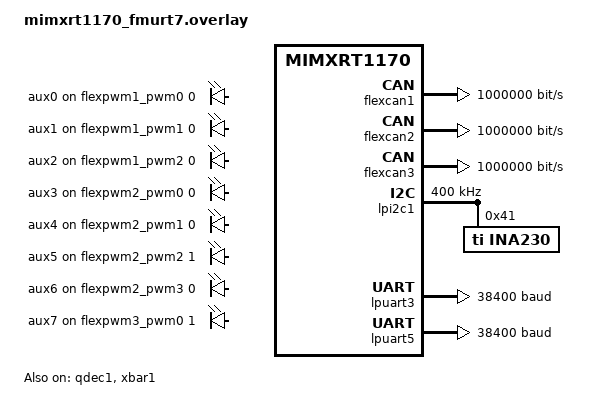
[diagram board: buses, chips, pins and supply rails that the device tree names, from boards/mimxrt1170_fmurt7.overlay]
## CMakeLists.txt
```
#-------------------------------------------------------------------------------
# Zephyr Cerebri Application
#
# Copyright (c) 2023 CogniPilot Foundation
# SPDX-License-Identifier: Apache-2.0

cmake_minimum_required(VERSION 3.13.1)

find_package(Zephyr REQUIRED HINTS $ENV{ZEPHYR_BASE})

project(mrbuggy3 LANGUAGES C)

target_compile_options(app PRIVATE -Wall -Wextra -Werror -Wno-unused-parameter)

set(SOURCE_FILES
  src/main.c
  )

target_sources(app PRIVATE ${SOURCE_FILES})

#add_custom_target(install_files ALL
#	DEPENDS ${ZEPHYR_FINAL_EXECUTABLE}
#)

#add_custom_command(
#    TARGET install_files
#    POST_BUILD
#    COMMAND ${CMAKE_COMMAND} --build ${CMAKE_BINARY_DIR} --target install
#    )
```

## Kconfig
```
# Copyright (c) 2021 Nordic Semiconductor ASA
# SPDX-License-Identifier: Apache-2.0
#
# This file is the application Kconfig entry point. All application Kconfig
# options can be defined here or included via other application Kconfig files.
# You can browse these options using the west targets menuconfig (terminal) or
# guiconfig (GUI).
mainmenu "CogniPilot - Cerebri - MR Buggy3"
source "Kconfig.zephyr"

module = CEREBRI
module-str = CEREBRI
source "subsys/logging/Kconfig.template.log_config"
```

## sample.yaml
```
sample:
  description: MrBuggy3
  name: MrBuggy3
common:
  build_only: true
  integration_platforms:
    - native_posix
    - vmu_rt1170
tests:
  mrbuggy3.default:
    tags:
      - mrbuggy3
    integration_platforms:
      - native_posix
      - vmu_rt1170
```

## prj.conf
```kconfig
CONFIG_CEREBRI_APP_NAME="mrbuggy3"
CONFIG_CEREBRI_CORE_COMMON=y
CONFIG_CEREBRI_CONTROL_ACKERMANN=y
CONFIG_CEREBRI_ESTIMATE_ROVER2D=y
CONFIG_CEREBRI_SENSE_WHEEL_ODOMETRY=y
CONFIG_CEREBRI_SENSE_IMU=y
CONFIG_CEREBRI_SENSE_MAG=y
CONFIG_CEREBRI_SYNAPSE_ZBUS=y
CONFIG_CEREBRI_SYNAPSE_TOPIC=y
CONFIG_CEREBRI_SYNAPSE_ETHERNET=y

CONFIG_LOG=y
CONFIG_ASSERT=n
CONFIG_CBPRINTF_FP_SUPPORT=y

# modules
CONFIG_SYNAPSE_PROTOBUF=y
CONFIG_SYNAPSE_TINYFRAME=y
CONFIG_NANOPB=y
CONFIG_UBXLIB=y

# Zbus
CONFIG_ZBUS=y
CONFIG_ZBUS_CHANNEL_NAME=y
CONFIG_ZBUS_OBSERVER_NAME=y

# Debug
CONFIG_CEREBRI_SYNAPSE_ZBUS_LOG_LEVEL_DBG=n
CONFIG_CEREBRI_ESTIMATE_ROVER2D_LOG_LEVEL_DBG=n
CONFIG_CEREBRI_CONTROL_ACKERMANN_LOG_LEVEL_DBG=n
CONFIG_CEREBRI_SENSE_WHEEL_ODOMETRY_LOG_LEVEL_DBG=n
CONFIG_CEREBRI_SENSE_IMU_LOG_LEVEL_DBG=n
CONFIG_CEREBRI_SENSE_SAFETY_LOG_LEVEL_DBG=n

# General config
CONFIG_POSIX_API=y
CONFIG_NEWLIB_LIBC=y
CONFIG_MAIN_THREAD_PRIORITY=5
CONFIG_SYSTEM_WORKQUEUE_PRIORITY=-2
CONFIG_SYS_CLOCK_TICKS_PER_SEC=10000

# Networking config
CONFIG_NET_SHELL=y
CONFIG_NETWORKING=y
CONFIG_NET_IPV4=y
CONFIG_NET_IPV6=n
CONFIG_NET_TCP=y
CONFIG_NET_SOCKETS=y

# Network address config
CONFIG_NET_CONFIG_SETTINGS=y
CONFIG_NET_STATISTICS=y
CONFIG_NET_MGMT_EVENT_INFO=y
CONFIG_NET_MGMT_EVENT_MONITOR=y
CONFIG_NET_BUF_POOL_USAGE=y
CONFIG_NET_DEBUG_NET_PKT_ALLOC=y
CONFIG_NET_CONFIG_NEED_IPV4=y
CONFIG_NET_CONFIG_MY_IPV4_ADDR="192.0.2.1"
CONFIG_NET_CONFIG_PEER_IPV4_ADDR="192.0.2.2"

# STATS
CONFIG_THREAD_RUNTIME_STATS=y
CONFIG_SCHED_THREAD_USAGE=y
CONFIG_SCHED_THREAD_USAGE_ANALYSIS=y
CONFIG_SCHED_THREAD_USAGE_ALL=y
CONFIG_SCHED_THREAD_USAGE_AUTO_ENABLE=y
```

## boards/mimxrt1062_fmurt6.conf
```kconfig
CONFIG_DREAM_SITL=n
CONFIG_ACTUATE_PWM=y
CONFIG_ACTUATE_PWM_NUMBER=3

# can
CONFIG_VESC_CAN=y
CONFIG_ACTUATE_VESC_CAN=y
CONFIG_VESC_CAN_NUMBER=1
CONFIG_VESC_CAN_BUS_FD_0=y
#CONFIG_VESC_CAN_BUS_FD_1=y
CONFIG_VESC_CAN_BUS_ALIAS_CAN_N_0=0
#CONFIG_VESC_CAN_BUS_ALIAS_CAN_N_1=0
CONFIG_VESC_CAN_ID_0=60
#CONFIG_VESC_CAN_ID_1=61
CONFIG_VESC_POLE_PAIR_0=7
#CONFIG_VESC_POLE_PAIR_1=7
CONFIG_VESC_CAN_ACTUATOR_VEL_IDX_0=0
#CONFIG_VESC_CAN_ACTUATOR_VEL_IDX_0=1


# steering
CONFIG_ACTUATE_PWM_USE_POS_0=y
CONFIG_ACTUATE_PWM_INDEX_0=0
CONFIG_ACTUATE_PWM_LINEAR_0=y
CONFIG_ACTUATE_PWM_LINEAR_M_0=400
CONFIG_ACTUATE_PWM_LINEAR_M_DIV_0=1
CONFIG_ACTUATE_PWM_LINEAR_C_0=1500
CONFIG_ACTUATE_PWM_LINEAR_C_DIV_0=1

# throttle
CONFIG_ACTUATE_PWM_INDEX_1=0
CONFIG_ACTUATE_PWM_LINEAR_1=y
CONFIG_ACTUATE_PWM_LINEAR_M_1=1000
CONFIG_ACTUATE_PWM_LINEAR_C_1=1550
CONFIG_ACTUATE_PWM_LINEAR_C_DIV_1=1

CONFIG_PWM=y

CONFIG_CAN=y
CONFIG_CAN_MAX_FILTER=5
CONFIG_CAN_SHELL=y

CONFIG_NET_DRIVERS=y
CONFIG_NET_CANBUS=y

CONFIG_NET_SOCKETS_CAN=y
CONFIG_NET_DEFAULT_IF_CANBUS_RAW=y

CONFIG_CAN_LOG_LEVEL_DBG=n
CONFIG_CAN_FD_MODE=y
CONFIG_SHELL_ARGC_MAX=72
```

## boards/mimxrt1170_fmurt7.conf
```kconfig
CONFIG_DREAM_SITL=n
CONFIG_ACTUATE_PWM=n  # disabling for estimator testing
CONFIG_ACTUATE_PWM_NUMBER=3

# can
CONFIG_VESC_CAN=y
CONFIG_ACTUATE_VESC_CAN=y
CONFIG_VESC_CAN_NUMBER=1
CONFIG_VESC_CAN_BUS_FD_0=y
#CONFIG_VESC_CAN_BUS_FD_1=y
CONFIG_VESC_CAN_BUS_ALIAS_CAN_N_0=0
#CONFIG_VESC_CAN_BUS_ALIAS_CAN_N_1=0
CONFIG_VESC_CAN_ID_0=60
#CONFIG_VESC_CAN_ID_1=61
CONFIG_VESC_POLE_PAIR_0=7
#CONFIG_VESC_POLE_PAIR_1=7
CONFIG_VESC_CAN_ACTUATOR_VEL_IDX_0=0
#CONFIG_VESC_CAN_ACTUATOR_VEL_IDX_0=1


# steering
CONFIG_ACTUATE_PWM_USE_POS_0=y
CONFIG_ACTUATE_PWM_INDEX_0=0
CONFIG_ACTUATE_PWM_LINEAR_0=y
CONFIG_ACTUATE_PWM_LINEAR_M_0=400
CONFIG_ACTUATE_PWM_LINEAR_M_DIV_0=1
CONFIG_ACTUATE_PWM_LINEAR_C_0=1500
CONFIG_ACTUATE_PWM_LINEAR_C_DIV_0=1

# throttle
CONFIG_ACTUATE_PWM_INDEX_1=0
CONFIG_ACTUATE_PWM_LINEAR_1=y
CONFIG_ACTUATE_PWM_LINEAR_M_1=1000
CONFIG_ACTUATE_PWM_LINEAR_C_1=1550
CONFIG_ACTUATE_PWM_LINEAR_C_DIV_1=1

CONFIG_PWM=y

CONFIG_CAN=y
CONFIG_CAN_MAX_FILTER=5
CONFIG_CAN_SHELL=y

CONFIG_NET_DRIVERS=y
CONFIG_NET_CANBUS=y

CONFIG_NET_SOCKETS_CAN=y
CONFIG_NET_DEFAULT_IF_CANBUS_RAW=y

CONFIG_CAN_LOG_LEVEL_DBG=n
CONFIG_CAN_FD_MODE=y
CONFIG_SHELL_ARGC_MAX=72
CONFIG_I2C=y
CONFIG_SENSOR=y
CONFIG_SENSE_POWER=y
CONFIG_SENSE_UBX_GNSS=y
CONFIG_HEAP_MEM_POOL_SIZE=16384

# Debugging
CONFIG_DEBUG_THREAD_INFO=y

# Logging
CONFIG_LOG=y
CONFIG_LOG_MODE_DEFERRED=n
CONFIG_LOG_BACKEND_NET=n
CONFIG_LOG_BACKEND_NET_SERVER="192.0.2.2"
```

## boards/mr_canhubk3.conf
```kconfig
CONFIG_ENTROPY_GENERATOR=y
CONFIG_TEST_RANDOM_GENERATOR=y
CONFIG_CEREBRI_DREAM_SITL=n
CONFIG_CEREBRI_ACTUATE_PWM=y
CONFIG_CEREBRI_ACTUATE_PWM_NUMBER=2
CONFIG_CEREBRI_SENSE_POWER=n
CONFIG_CEREBRI_SENSE_WHEEL_ODOMETRY=n
CONFIG_CEREBRI_SENSE_UBX_GNSS=y
CONFIG_BUGGY3_MOTOR_ENB_REQUIRED=n


# steering
CONFIG_CEREBRI_ACTUATE_PWM_USE_POS_0=y
CONFIG_CEREBRI_ACTUATE_PWM_INDEX_0=0
CONFIG_CEREBRI_ACTUATE_PWM_LINEAR_0=y
CONFIG_CEREBRI_ACTUATE_PWM_LINEAR_M_0=400
CONFIG_CEREBRI_ACTUATE_PWM_LINEAR_M_DIV_0=1
CONFIG_CEREBRI_ACTUATE_PWM_LINEAR_B_0=1500
CONFIG_CEREBRI_ACTUATE_PWM_LINEAR_B_DIV_0=1

# throttle
CONFIG_CEREBRI_ACTUATE_PWM_INDEX_1=0
CONFIG_CEREBRI_ACTUATE_PWM_USE_NANO_SECONDS_1=y
CONFIG_CEREBRI_ACTUATE_PWM_PULSE_MIN_1=0
CONFIG_CEREBRI_ACTUATE_PWM_PULSE_MAX_1=50000
CONFIG_CEREBRI_ACTUATE_PWM_PULSE_CENTER_1=25000
CONFIG_CEREBRI_ACTUATE_PWM_LINEAR_1=y
CONFIG_CEREBRI_ACTUATE_PWM_LINEAR_M_1=273158
CONFIG_CEREBRI_ACTUATE_PWM_LINEAR_M_DIV_1=1000
CONFIG_CEREBRI_ACTUATE_PWM_LINEAR_B_1=248474
CONFIG_CEREBRI_ACTUATE_PWM_LINEAR_B_DIV_1=10

CONFIG_PWM=y

CONFIG_CAN=y
CONFIG_CAN_MAX_FILTER=5
CONFIG_CAN_SHELL=y

CONFIG_NET_DRIVERS=y
CONFIG_NET_CANBUS=y

CONFIG_NET_SOCKETS_CAN=y
CONFIG_NET_DEFAULT_IF_CANBUS_RAW=y

CONFIG_CAN_LOG_LEVEL_DBG=n
CONFIG_CAN_FD_MODE=y
CONFIG_SHELL_ARGC_MAX=72
CONFIG_I2C=y
CONFIG_SENSOR=y
CONFIG_HEAP_MEM_POOL_SIZE=16384

# Debugging
CONFIG_DEBUG_THREAD_INFO=y

# Logging
CONFIG_LOG=y
#CONFIG_LOG_MODE_DEFERRED=n
#CONFIG_LOG_BACKEND_NET=n
#CONFIG_LOG_BACKEND_NET_SERVER="192.0.2.2"
```

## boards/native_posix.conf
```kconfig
CONFIG_ETH_NATIVE_POSIX=y
CONFIG_TEST_RANDOM_GENERATOR=y
CONFIG_SYS_CLOCK_TICKS_PER_SEC=200
CONFIG_NATIVE_POSIX_SLOWDOWN_TO_REAL_TIME=n

#CONFIG_NATIVE_UART_0_ON_STDINOUT=y
CONFIG_NATIVE_UART_AUTOATTACH_DEFAULT_CMD="xterm -fa Monospcae -fs 12 -fg grey -bg black -T cerebri-shell -e screen %s &"

CONFIG_CEREBRI_BOOT_BANNER=n
CONFIG_CEREBRI_DREAM_SITL=y
CONFIG_UBXLIB=n

CONFIG_CEREBRI_SENSE_IMU=n
CONFIG_CEREBRI_SENSE_BARO=n
CONFIG_CEREBRI_SENSE_MAG=n
CONFIG_CEREBRI_SENSE_UBX_GNSS=n
CONFIG_CEREBRI_SENSE_SAFETY=n
CONFIG_CEREBRI_SENSE_WHEEL_ODOMETRY=n

CONFIG_CEREBRI_DREAM_SITL_LOG_LEVEL_DBG=n
CONFIG_CEREBRI_CONTROL_ACKERMANN_LOG_LEVEL_WRN=y

CONFIG_NEWLIB_LIBC=n
CONFIG_EXTERNAL_LIBC=y
CONFIG_POSIX_API=n
```

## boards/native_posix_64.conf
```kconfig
CONFIG_ETH_NATIVE_POSIX=y
CONFIG_TEST_RANDOM_GENERATOR=y
CONFIG_SYS_CLOCK_TICKS_PER_SEC=1000
CONFIG_NATIVE_POSIX_SLOWDOWN_TO_REAL_TIME=n

CONFIG_UART_NATIVE_POSIX_PORT_1_ENABLE=n

CONFIG_SIM_SITL=y
CONFIG_COMMUNICATE_SYNAPSE_ZBUS_ETHERNET=y
CONFIG_COMMUNICATE_SYNAPSE_ZBUS_UART=n

CONFIG_NEWLIB_LIBC=n
CONFIG_EXTERNAL_LIBC=y
CONFIG_POSIX_API=n
```

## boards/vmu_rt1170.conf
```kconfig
CONFIG_DREAM_SITL=n
CONFIG_ACTUATE_PWM=y
CONFIG_ACTUATE_PWM_NUMBER=3

CONFIG_BUGGY3_MOTOR_ENB_REQUIRED=y

# steering
CONFIG_ACTUATE_PWM_USE_POS_0=y
CONFIG_ACTUATE_PWM_INDEX_0=0
CONFIG_ACTUATE_PWM_LINEAR_0=y
CONFIG_ACTUATE_PWM_LINEAR_M_0=400
CONFIG_ACTUATE_PWM_LINEAR_M_DIV_0=1
CONFIG_ACTUATE_PWM_LINEAR_B_0=1500
CONFIG_ACTUATE_PWM_LINEAR_B_DIV_0=1

# motor enable
CONFIG_ACTUATE_PWM_INDEX_1=0
CONFIG_ACTUATE_PWM_USE_NANO_SECONDS_1=y
CONFIG_ACTUATE_PWM_PULSE_MIN_1=0
CONFIG_ACTUATE_PWM_PULSE_MAX_1=50000
CONFIG_ACTUATE_PWM_PULSE_CENTER_1=25000


# throttle
CONFIG_ACTUATE_PWM_INDEX_2=0
CONFIG_ACTUATE_PWM_USE_NANO_SECONDS_2=y
CONFIG_ACTUATE_PWM_PULSE_MIN_2=0
CONFIG_ACTUATE_PWM_PULSE_MAX_2=50000
CONFIG_ACTUATE_PWM_PULSE_CENTER_2=25000
CONFIG_ACTUATE_PWM_LINEAR_2=y
CONFIG_ACTUATE_PWM_LINEAR_M_2=273158
CONFIG_ACTUATE_PWM_LINEAR_M_DIV_2=1000
CONFIG_ACTUATE_PWM_LINEAR_B_2=248474
CONFIG_ACTUATE_PWM_LINEAR_B_DIV_2=10

CONFIG_PWM=y

CONFIG_CAN=y
CONFIG_CAN_MAX_FILTER=5
CONFIG_CAN_SHELL=y

CONFIG_NET_DRIVERS=y
CONFIG_NET_CANBUS=y

CONFIG_NET_SOCKETS_CAN=y
CONFIG_NET_DEFAULT_IF_CANBUS_RAW=y

CONFIG_CAN_LOG_LEVEL_DBG=n
CONFIG_CAN_FD_MODE=y
CONFIG_SHELL_ARGC_MAX=72
CONFIG_I2C=y
CONFIG_SENSOR=y
CONFIG_SENSE_POWER=y
CONFIG_SENSE_UBX_GNSS=y
CONFIG_HEAP_MEM_POOL_SIZE=16384

# Debugging
CONFIG_DEBUG_THREAD_INFO=y

# Logging
CONFIG_LOG=y
CONFIG_LOG_MODE_DEFERRED=n
CONFIG_LOG_BACKEND_NET=n
CONFIG_LOG_BACKEND_NET_SERVER="192.0.2.2"
```

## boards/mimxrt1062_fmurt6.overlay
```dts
../../common/boards/mimxrt1062_fmurt6.overlay
```

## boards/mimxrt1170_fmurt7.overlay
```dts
/* SPDX-License-Identifier: Apache-2.0 */
/* Copyright 2023 CogniPilot Foundation */
#include <zephyr/dt-bindings/sensor/ina230.h>

/ {
	pwm_shell: pwm_shell {
		compatible = "pwm-leds";
		aux0: aux0 {
			pwms = <&flexpwm1_pwm0 0 PWM_HZ(50) PWM_POLARITY_NORMAL>;
		};
		aux1: aux1 {
			pwms = <&flexpwm1_pwm1 0 PWM_HZ(18000) PWM_POLARITY_NORMAL>;
		};
		aux2: aux2 {
			pwms = <&flexpwm1_pwm2 0 PWM_HZ(18000) PWM_POLARITY_NORMAL>;
		};
		aux3: aux3 {
			pwms = <&flexpwm2_pwm0 0 PWM_HZ(50) PWM_POLARITY_NORMAL>;
		};
		aux4: aux4 {
			pwms = <&flexpwm2_pwm1 0 PWM_HZ(50) PWM_POLARITY_NORMAL>;
		};
		aux5: aux5 {
			pwms = <&flexpwm2_pwm2 1 PWM_HZ(50) PWM_POLARITY_NORMAL>;
		};
		aux6: aux6 {
			pwms = <&flexpwm2_pwm3 0 PWM_HZ(50) PWM_POLARITY_NORMAL>;
		};
		aux7: aux7 {
			pwms = <&flexpwm3_pwm0 1 PWM_HZ(50) PWM_POLARITY_NORMAL>;
		};
	};

	chosen {
		zephyr,canbus = &flexcan3;
	};

	aliases {
		can0 = &flexcan1;
		can1 = &flexcan2;
		can2 = &flexcan3;
		telem1 = &lpuart8; /* Use telem2 as telem1 */
	};
};

&flexpwm1_pwm0 {
	nxp,prescaler = <64>;
};

&flexpwm1_pwm1 {
	nxp,prescaler = <32>;
};

&flexpwm1_pwm2 {
	nxp,prescaler = <32>;
};

&flexpwm2_pwm0 {
	nxp,prescaler = <64>;
};

&flexpwm2_pwm1 {
	nxp,prescaler = <64>;
};

&flexpwm2_pwm2 {
	nxp,prescaler = <64>;
};

&flexpwm2_pwm3 {
	nxp,prescaler = <64>;
};

&flexpwm3_pwm0 {
	nxp,prescaler = <64>;
};

&flexcan1 {
	status = "okay";
	bus-speed = <1000000>;
	bus-speed-data = <4000000>;
};

&flexcan2 {
	status = "okay";
	bus-speed = <1000000>;
	bus-speed-data = <4000000>;
};

&flexcan3 {
	status = "okay";
	bus-speed = <1000000>;
	bus-speed-data = <4000000>;
};

&lpi2c1 {
	status = "okay";
	pinctrl-0 = <&pinmux_lpi2c1>;
	pinctrl-names = "default";
	clock-frequency = <I2C_BITRATE_FAST>;

	ina230: ina230@41 {
		compatible = "ti,ina230";
		reg = <0x41>;
		config = <INA230_CONFIG(INA230_OPER_MODE_SHUNT_BUS_VOLTAGE_CONT,
								INA230_CONV_TIME_2116, 
								INA230_CONV_TIME_2116, 
								INA230_AVG_MODE_64)>;
		current-lsb-microamps = <5000>;
		rshunt-micro-ohms = <500>;
	};
};

/* GNSS 1 */
uart0: &lpuart3 {
       status = "okay";
       current-speed = <38400>;
};
/* GNSS 2 */
uart1: &lpuart5 {
       status = "okay";
       current-speed = <38400>;
};

/* QDEC conflicts with the CTS/RTS from LPUART4/TELEM1 */
lpuart4: &lpuart4 {
       status = "disabled";
};

&pinctrl {

	pinmux_qdec1: pinmux_qdec1 {
		group0 {
			pinmux = <&iomuxc_gpio_disp_b1_07_xbar1_xbar_in33>,
				<&iomuxc_gpio_disp_b1_05_xbar1_xbar_in31>;
			drive-strength = "normal";
			slew-rate = "slow";
		};
	};
};

&qdec1 {
	status = "okay";
	pinctrl-0 = <&pinmux_qdec1>;
	pinctrl-names = "default";
	counts-per-revolution = <600>;
	filter-count = <0>;
	xbar = < &xbar1 >;
};

&xbar1 {
	status = "okay";
	xbar-maps = < (33|0x100) (109|0x100) >, /* kXBARA1_InputIomuxXbarIn33 <-> kXBARA1_OutputDec1Phasea */
		    < (31|0x100) (108|0x100) >; /* kXBARA1_InputIomuxXbarIn31 <-> kXBARA1_OutputDec1Phaseb */
};
```

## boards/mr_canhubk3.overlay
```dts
/* SPDX-License-Identifier: Apache-2.0 */
/* Copyright 2023 CogniPilot Foundation */
#include <zephyr/dt-bindings/sensor/ina230.h>

/ {
	pwm_shell: pwm_shell {
		compatible = "pwm-leds";
		aux0: aux0 {
			pwms = <&emios0_pwm 0 PWM_HZ(50) PWM_POLARITY_NORMAL>;
		};
		aux1: aux1 {
			pwms = <&emios0_pwm 1 PWM_HZ(20000) PWM_POLARITY_NORMAL>;
		};
		aux2: aux2 {
			pwms = <&emios0_pwm 2 PWM_HZ(20000) PWM_POLARITY_NORMAL>;
		};
		aux3: aux3 {
			pwms = <&emios0_pwm 3 PWM_HZ(50) PWM_POLARITY_NORMAL>;
		};
		aux4: aux4 {
			pwms = <&emios0_pwm 4 PWM_HZ(50) PWM_POLARITY_NORMAL>;
		};
		aux5: aux5 {
			pwms = <&emios0_pwm 5 PWM_HZ(50) PWM_POLARITY_NORMAL>;
		};
		aux6: aux6 {
			pwms = <&emios0_pwm 6 PWM_HZ(50) PWM_POLARITY_NORMAL>;
		};
		aux7: aux7 {
			pwms = <&emios0_pwm 7 PWM_HZ(50) PWM_POLARITY_NORMAL>;
		};
	};

	chosen {
		zephyr,canbus = &flexcan3;
	};

	aliases {
		can0 = &flexcan0;
		can1 = &flexcan1;
		can2 = &flexcan2;
		can3 = &flexcan3;
		can4 = &flexcan4;
		can5 = &flexcan5;
		/* safety button */
		safety-button = &arming_button_mr_canhubk3_adap;
	};
};

&emios0_pwm {
	pwm_0 {
		prescaler = <16>;
	};
	pwm_1 {
		prescaler = <8>;
	};
	pwm_2 {
		prescaler = <8>;
		duty-cycle = <0>;
	};
	pwm_3 {
		prescaler = <16>;
	};
	pwm_4 {
		prescaler = <16>;
	};
	pwm_5 {
		prescaler = <16>;
	};
	pwm_6 {
		prescaler = <16>;
	};
	pwm_7 {
		prescaler = <16>;
	};
};

&flexcan0 {
	status = "okay";
	bus-speed = <1000000>;
	bus-speed-data = <4000000>;
};

&flexcan1 {
	status = "okay";
	bus-speed = <1000000>;
	bus-speed-data = <4000000>;
};

&flexcan2 {
	status = "okay";
	bus-speed = <1000000>;
	bus-speed-data = <4000000>;
};

&flexcan3 {
	status = "okay";
	bus-speed = <1000000>;
	bus-speed-data = <4000000>;
};

&flexcan4 {
	status = "okay";
	bus-speed = <1000000>;
	bus-speed-data = <4000000>;
};

&flexcan5 {
	status = "okay";
	bus-speed = <1000000>;
	bus-speed-data = <4000000>;
};

/* GNSS 1 */
uart0: &lpuart7 {
       status = "okay";
       current-speed = <38400>;
};
```

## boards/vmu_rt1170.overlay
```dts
/* SPDX-License-Identifier: Apache-2.0 */
/* Copyright 2023 CogniPilot Foundation */
#include <zephyr/dt-bindings/sensor/ina230.h>
#include <zephyr/dt-bindings/input/input-event-codes.h>

/ {
	pwm_shell: pwm_shell {
		compatible = "pwm-leds";
		aux0: aux0 {
			pwms = <&flexpwm1_pwm0 0 PWM_HZ(50) PWM_POLARITY_NORMAL>;
		};
		aux1: aux1 {
			pwms = <&flexpwm1_pwm1 0 PWM_HZ(20000) PWM_POLARITY_NORMAL>;
		};
		aux2: aux2 {
			pwms = <&flexpwm1_pwm2 0 PWM_HZ(20000) PWM_POLARITY_NORMAL>;
		};
		aux3: aux3 {
			pwms = <&flexpwm2_pwm0 0 PWM_HZ(50) PWM_POLARITY_NORMAL>;
		};
		aux4: aux4 {
			pwms = <&flexpwm2_pwm1 0 PWM_HZ(50) PWM_POLARITY_NORMAL>;
		};
		aux5: aux5 {
			pwms = <&flexpwm2_pwm2 1 PWM_HZ(50) PWM_POLARITY_NORMAL>;
		};
		aux6: aux6 {
			pwms = <&flexpwm2_pwm3 0 PWM_HZ(50) PWM_POLARITY_NORMAL>;
		};
		aux7: aux7 {
			pwms = <&flexpwm3_pwm0 1 PWM_HZ(50) PWM_POLARITY_NORMAL>;
		};
	};

	chosen {
		zephyr,canbus = &flexcan3;
	};

	aliases {
		can0 = &flexcan1;
		can1 = &flexcan2;
		can2 = &flexcan3;
		telem1 = &lpuart8; /* Use telem2 as telem1 */
		/* accelerometers */
		accel0 = &bmi08x_accel;
		accel1 = &icm42688_0;
		accel2 = &icm42688_1;
		/* gyroscopes */
		gyro0 = &icm42688_0;
		gyro1 = &icm42688_1;
		gyro2 = &bmi08x_gyro;
		/* magnetometers */
		mag0 = &ist8310;
		mag1 = &bmm150;
		/* barometric altimeters */
		baro0 = &bmp388_0;
		baro1 = &bmp388_1;
		/* power sensors */
		power0 = &ina230;
		/* wheel odometry */
		wheel-odometry0 = &qdec1;
		/* safety button */
		safety-button = &arming_button;
		status-led = &ncp5623c;
	};
};

&flexpwm1_pwm0 {
	nxp,prescaler = <64>;
};

&flexpwm1_pwm1 {
	nxp,prescaler = <8>;
};

&flexpwm1_pwm2 {
	nxp,prescaler = <8>;
};

&flexpwm2_pwm0 {
	nxp,prescaler = <64>;
};

&flexpwm2_pwm1 {
	nxp,prescaler = <64>;
};

&flexpwm2_pwm2 {
	nxp,prescaler = <64>;
};

&flexpwm2_pwm3 {
	nxp,prescaler = <64>;
};

&flexpwm3_pwm0 {
	nxp,prescaler = <64>;
};

&flexcan1 {
	status = "okay";
	bus-speed = <1000000>;
	bus-speed-data = <4000000>;
};

&flexcan2 {
	status = "okay";
	bus-speed = <1000000>;
	bus-speed-data = <4000000>;
};

&flexcan3 {
	status = "okay";
	bus-speed = <1000000>;
	bus-speed-data = <4000000>;
};

&lpi2c1 {
	status = "okay";
	pinctrl-0 = <&pinmux_lpi2c1>;
	pinctrl-names = "default";
	clock-frequency = <I2C_BITRATE_FAST>;

	ina230: ina230@41 {
		compatible = "ti,ina230";
		reg = <0x41>;
		current-lsb-microamps = <5000>;
		rshunt-micro-ohms = <500>;
	};
};

/* GNSS 1 */
uart0: &lpuart3 {
       status = "okay";
       current-speed = <38400>;
};
/* GNSS 2 */
uart1: &lpuart5 {
       status = "okay";
       current-speed = <38400>;
};

/* QDEC conflicts with the CTS/RTS from LPUART4/TELEM1 */
lpuart4: &lpuart4 {
       status = "disabled";
};

&pinctrl {

	pinmux_qdec1: pinmux_qdec1 {
		group0 {
			pinmux = <&iomuxc_gpio_disp_b1_07_xbar1_xbar_in33>,
				<&iomuxc_gpio_disp_b1_05_xbar1_xbar_in31>;
			drive-strength = "normal";
			slew-rate = "slow";
		};
	};
};

&gpt5 {
    compatible = "nxp,gpt-ppm-input";
    pinctrl-0 = <&pinmux_gpt_ppm>;
    pinctrl-names = "default";
    capture-channel = <1>;
    right_stick_x {
        channel = <1>;
        label = "Right stick x";
        type = <INPUT_EV_ABS>;
        zephyr,code = <INPUT_ABS_RX>;
    };
    right_stick_y {
        channel = <2>;
        label = "Right stick y";
        type = <INPUT_EV_ABS>;
        zephyr,code = <INPUT_ABS_RY>;
    };
    left_stick_x {
        channel = <3>;
        label = "Left stick x";
        type = <INPUT_EV_ABS>;
        zephyr,code = <INPUT_ABS_X>;
    };
    left_stick_y {
        channel = <4>;
        label = "Left stick y";
        type = <INPUT_EV_ABS>;
        zephyr,code = <INPUT_ABS_Y>;
    };
};


&qdec1 {
	status = "okay";
	pinctrl-0 = <&pinmux_qdec1>;
	pinctrl-names = "default";
	counts-per-revolution = <685>;
	filter-count = <0>;
	xbar = < &xbar1 >;
};

&xbar1 {
	status = "okay";
	xbar-maps = < (33|0x100) (109|0x100) >, /* kXBARA1_InputIomuxXbarIn33 <-> kXBARA1_OutputDec1Phasea */
		    < (31|0x100) (108|0x100) >; /* kXBARA1_InputIomuxXbarIn31 <-> kXBARA1_OutputDec1Phaseb */
};
```

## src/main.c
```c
/*
 * Copyright (c) 2023 CogniPilot Foundation
 * SPDX-License-Identifier: Apache-2.0
 */

#if defined(CONFIG_ARCH_POSIX)
#include <signal.h>
#endif

#include <stdio.h>
#include <stdlib.h>
#include <zephyr/drivers/sensor.h>
#include <zephyr/kernel.h>

#include "app_version.h"

#include <zephyr/logging/log.h>

#if defined(CONFIG_BOOT_BANNER)
const char banner_brain[] = "                            \033[0m\033[38;5;252m              ▄▄▄▄▄▄▄▄\n"
                            "\033[2;34m         ▄▄▄▄▄ \033[2;33m▄▄▄▄▄\033[0m\033[38;5;252m                    ▀▀▀▀▀▀▀▀▀\n"
                            "\033[2;34m     ▄███████▀\033[2;33m▄██████▄\033[0m\033[38;5;252m   ▀█████████████████████▀\n"
                            "\033[2;34m  ▄██████████ \033[2;33m████████\033[31m ▄\033[0m\033[38;5;249m   ▄▄▄▄▄▄▄▄▄▄▄▄▄▄▄▄▄▄\n"
                            "\033[2;34m ███████████▀ \033[2;33m███████▀\033[31m ██\033[0m\033[38;5;249m   ▀▀▀▀▀▀▀▀▀▀▀▀▀▀▀▀\n"
                            "\033[2;34m█████████▀   \033[2;33m▀▀▀▀▀▀▀▀\033[31m ████\033[0m\033[38;5;246m   ▀███████████▀\n"
                            "\033[2;34m▀█████▀ \033[2;32m▄▄███████████▄\033[31m ████\033[0m\033[38;5;243m   ▄▄▄▄▄▄▄▄▄\n"
                            "\033[2;34m  ▀▀▀ \033[2;32m███████████████▀\033[31m ████\033[0m\033[38;5;243m   ▀▀▀▀▀▀▀▀\n"
                            "       \033[2;32m▀▀█████▀▀▀▀▀▀\033[31m  ▀▀▀▀\033[0m\033[38;5;240m   ▄█████▀\n"
                            "              \033[2;90m ████████▀    ▄▄▄\n"
                            "              \033[2;90m ▀███▀       ▀▀▀\n"
                            "              \033[2;90m  ▀▀      \033[0m\n";
const char banner_name[] = "╔═══╗╔═══╗╔═══╗╔═╗ ╔╗╔══╗╔═══╗╔══╗╔╗   ╔═══╗╔════╗\n"
                           "║╔═╗║║╔═╗║║╔═╗║║║║ ║║╚╣╠╝║╔═╗║╚╣╠╝║║   ║╔═╗║║╔╗╔╗║\n"
                           "║║ ╚╝║║ ║║║║ ╚╝║║╚╗║║ ║║ ║║ ║║ ║║ ║║   ║║ ║║╚╝║║╚╝\n"
                           "║║   ║║ ║║║║╔═╗║╔╗╚╝║ ║║ ║╚═╝║ ║║ ║║   ║║ ║║  ║║  \n"
                           "║║ ╔╗║║ ║║║║╚╗║║║╚╗║║ ║║ ║╔══╝ ║║ ║║ ╔╗║║ ║║  ║║  \n"
                           "║╚═╝║║╚═╝║║╚═╝║║║ ║║║╔╣╠╗║║   ╔╣╠╗║╚═╝║║╚═╝║ ╔╝╚╗ \n"
                           "╚═══╝╚═══╝╚═══╝╚╝ ╚═╝╚══╝╚╝   ╚══╝╚═══╝╚═══╝ ╚══╝ \n\033[31m"
                           "       ┏━━━┓┏━━━┓┏━━━┓┏━━━┓┏━━┓ ┏━━━┓┏━━┓\n"
                           "       ┃┏━┓┃┃┏━━┛┃┏━┓┃┃┏━━┛┃┏┓┃ ┃┏━┓┃┗┫┣┛\n"
                           "       ┃┃ ┗┛┃┗━┓ ┃┗━┛┃┃┗━┓ ┃┗┛┗┓┃┗━┛┃ ┃┃ \n"
                           "       ┃┃ ┏┓┃┏━┛ ┃┏┓┏┛┃┏━┛ ┃┏━┓┃┃┏┓┏┛ ┃┃ \n"
                           "       ┃┗━┛┃┃┗━━┓┃┃┃┗┓┃┗━━┓┃┗━┛┃┃┃┃┗┓┏┫┣┓\n"
                           "       ┗━━━┛┗━━━┛┗┛┗━┛┗━━━┛┗━━━┛┗┛┗━┛┗━━┛\n\033[0m";
#endif

LOG_MODULE_REGISTER(main, CONFIG_CEREBRI_LOG_LEVEL);

static volatile int keepRunning = 1;

#if defined(CONFIG_ARCH_POSIX)
void intHandler(int dummy)
{
    (void)dummy;
    keepRunning = 0;
    printf("sigint caught\n");
    exit(0);
}
#endif

int main(void)
{
#if defined(CONFIG_BOOT_BANNER)
    printf("%s%s\n", banner_brain, banner_name);
#endif
    printf("Cerebri %s\n", APP_VERSION_STRING);

#if defined(CONFIG_ARCH_POSIX)
    signal(SIGINT, intHandler);
#endif
    while (keepRunning) {
        k_msleep(10000);
        // int64_t uptime = k_uptime_get() / 1e3;
#if defined(CONFIG_ARCH_POSIX)
        // printf("\nuptime: %ld sec\n", uptime);
#else
        // printf("\nuptime: %lld sec\n", uptime);
#endif
    }

    return 0;
}

// vi: ts=4 sw=4 et
```
